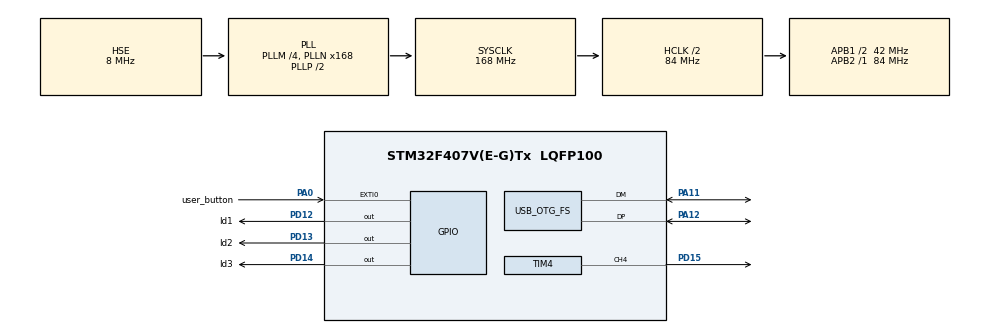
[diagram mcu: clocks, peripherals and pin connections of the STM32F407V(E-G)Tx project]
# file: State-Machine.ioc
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Mcu.Family=STM32F4
Mcu.Name=STM32F407V(E-G)Tx
Mcu.Package=LQFP100
NVIC.EXTI0_IRQn=true\:0\:0\:false\:false\:true\:true\:true\:true
NVIC.OTG_FS_IRQn=true\:0\:0\:false\:false\:true\:false\:true\:true
NVIC.PriorityGroup=NVIC_PRIORITYGROUP_0
NVIC.TIM1_UP_TIM10_IRQn=true\:0\:0\:false\:false\:true\:true\:true\:true
PA0-WKUP.GPIO_Label=user_button
PA0-WKUP.GPIO_ModeDefaultEXTI=GPIO_MODE_IT_RISING
PA0-WKUP.GPIO_PuPd=GPIO_PULLDOWN
PA0-WKUP.Signal=GPXTI0
PA11.Mode=Device_Only
PA11.Signal=USB_OTG_FS_DM
PA12.Mode=Device_Only
PA12.Signal=USB_OTG_FS_DP
PA13.Mode=Serial_Wire
PA13.Signal=SYS_JTMS-SWDIO
PA14.Mode=Serial_Wire
PA14.Signal=SYS_JTCK-SWCLK
PD12.GPIO_Label=ld1
PD12.GPIO_Speed=GPIO_SPEED_FREQ_MEDIUM
PD12.Signal=GPIO_Output
PD13.GPIO_Label=ld2
PD13.GPIO_Speed=GPIO_SPEED_FREQ_MEDIUM
PD13.Signal=GPIO_Output
PD14.GPIO_Label=ld3
PD14.GPIO_Speed=GPIO_SPEED_FREQ_MEDIUM
PD14.Signal=GPIO_Output
PD15.Signal=S_TIM4_CH4
PH0-OSC_IN.Mode=HSE-External-Oscillator
PH0-OSC_IN.Signal=RCC_OSC_IN
PH1-OSC_OUT.Mode=HSE-External-Oscillator
PH1-OSC_OUT.Signal=RCC_OSC_OUT
ProjectManager.HeapSize=0x200
ProjectManager.StackSize=0x400
ProjectManager.TargetToolchain=STM32CubeIDE
RCC.48MHZClocksFreq_Value=48000000
RCC.AHBCLKDivider=RCC_SYSCLK_DIV2
RCC.AHBFreq_Value=84000000
RCC.APB1CLKDivider=RCC_HCLK_DIV2
RCC.APB1Freq_Value=42000000
RCC.APB1TimFreq_Value=84000000
RCC.APB2Freq_Value=84000000
RCC.APB2TimFreq_Value=84000000
RCC.CortexFreq_Value=84000000
RCC.HCLKFreq_Value=84000000
RCC.HSE_VALUE=8000000
RCC.HSI_VALUE=16000000
RCC.LSE_VALUE=32768
RCC.PLLM=4
RCC.PLLN=168
RCC.PLLQ=7
RCC.SYSCLKFreq_VALUE=168000000
RCC.SYSCLKSource=RCC_SYSCLKSOURCE_PLLCLK
RCC.VCOOutputFreq_Value=336000000
SH.S_TIM4_CH4.0=TIM4_CH4,PWM Generation4 CH4
TIM1.Period=1999
TIM1.Prescaler=41999
TIM4.Channel-PWM\ Generation4\ CH4=TIM_CHANNEL_4
TIM4.Period=499
TIM4.Prescaler=167
USB_DEVICE.CLASS_NAME_FS=CDC
USB_DEVICE.VirtualMode-CDC_FS=Cdc
USB_DEVICE.VirtualModeFS=Cdc_FS
USB_OTG_FS.VirtualMode=Device_Only
VP_TIM1_VS_ClockSourceINT.Mode=Internal
VP_TIM4_VS_ClockSourceINT.Mode=Internal
VP_USB_DEVICE_VS_USB_DEVICE_CDC_FS.Mode=CDC_FS
board=STM32F407G-DISC1

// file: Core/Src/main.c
/* USER CODE BEGIN Header */
/**
  ******************************************************************************
  * @file           : main.c
  * @brief          : Main program body
  ******************************************************************************
  * @attention
  *
  * Copyright (c) 2023 STMicroelectronics.
  * All rights reserved.
  *
  * This software is licensed under terms that can be found in the LICENSE file
  * in the root directory of this software component.
  * If no LICENSE file comes with this software, it is provided AS-IS.
  *
  ******************************************************************************
  */
/* USER CODE END Header */
#include "main.h"
#include "usb_device.h"

/* USER CODE BEGIN Includes */
#include "statemachine.h"
#include "usbd_cdc_if.h"

/* USER CODE END Includes */

TIM_HandleTypeDef htim1;
TIM_HandleTypeDef htim4;

/* USER CODE BEGIN PV */

int clockCount = 0;
extern state_Type current_state;
extern void (*state_table[])(void);

uint8_t msg[] = "usb\n";
uint8_t buffer[64] = {0};

volatile uint8_t buttonCounter = 0;
volatile uint32_t lastDebounceTime = 0;
const uint32_t debounceDelay = 200;

/* USER CODE END PV */

void SystemClock_Config(void);
static void MX_GPIO_Init(void);
static void MX_TIM1_Init(void);
static void MX_TIM4_Init(void);

int main(void)
{

  /* MCU Configuration--------------------------------------------------------*/

  /* Reset of all peripherals, Initializes the Flash interface and the Systick. */
  HAL_Init();

  /* Configure the system clock */
  SystemClock_Config();

  /* Initialize all configured peripherals */
  MX_GPIO_Init();
  MX_TIM1_Init();
  MX_USB_DEVICE_Init();
  MX_TIM4_Init();
  /* USER CODE BEGIN 2 */
  HAL_TIM_Base_Start_IT(&htim1);
  HAL_TIM_PWM_Start(&htim4, TIM_CHANNEL_4);
  //__HAL_TIM_SET_COMPARE(&htim4, TIM_CHANNEL_4, 200);
  //TIM4->CCR4 = 200; //other option
  //state_machine_init();
  current_state = STATE_INIT;

  /* USER CODE END 2 */

  /* Infinite loop */
  while (1)
  {

    /* USER CODE BEGIN 3 */
	  state_table[current_state]();
	  //CDC_Transmit_FS(msg , 4);
	  //HAL_Delay(500);
  }
  /* USER CODE END 3 */
}

void SystemClock_Config(void)
{
  RCC_OscInitTypeDef RCC_OscInitStruct = {0};
  RCC_ClkInitTypeDef RCC_ClkInitStruct = {0};

  /** Configure the main internal regulator output voltage
  */
  __HAL_RCC_PWR_CLK_ENABLE();
  __HAL_PWR_VOLTAGESCALING_CONFIG(PWR_REGULATOR_VOLTAGE_SCALE1);

  /** Initializes the RCC Oscillators according to the specified parameters
  * in the RCC_OscInitTypeDef structure.
  */
  RCC_OscInitStruct.OscillatorType = RCC_OSCILLATORTYPE_HSE;
  RCC_OscInitStruct.HSEState = RCC_HSE_ON;
  RCC_OscInitStruct.PLL.PLLState = RCC_PLL_ON;
  RCC_OscInitStruct.PLL.PLLSource = RCC_PLLSOURCE_HSE;
  RCC_OscInitStruct.PLL.PLLM = 4;
  RCC_OscInitStruct.PLL.PLLN = 168;
  RCC_OscInitStruct.PLL.PLLP = RCC_PLLP_DIV2;
  RCC_OscInitStruct.PLL.PLLQ = 7;
  if (HAL_RCC_OscConfig(&RCC_OscInitStruct) != HAL_OK)
  {
    Error_Handler();
  }

  /** Initializes the CPU, AHB and APB buses clocks
  */
  RCC_ClkInitStruct.ClockType = RCC_CLOCKTYPE_HCLK|RCC_CLOCKTYPE_SYSCLK
                              |RCC_CLOCKTYPE_PCLK1|RCC_CLOCKTYPE_PCLK2;
  RCC_ClkInitStruct.SYSCLKSource = RCC_SYSCLKSOURCE_PLLCLK;
  RCC_ClkInitStruct.AHBCLKDivider = RCC_SYSCLK_DIV2;
  RCC_ClkInitStruct.APB1CLKDivider = RCC_HCLK_DIV2;
  RCC_ClkInitStruct.APB2CLKDivider = RCC_HCLK_DIV1;

  if (HAL_RCC_ClockConfig(&RCC_ClkInitStruct, FLASH_LATENCY_2) != HAL_OK)
  {
    Error_Handler();
  }
}

static void MX_TIM1_Init(void)
{

  TIM_ClockConfigTypeDef sClockSourceConfig = {0};
  TIM_MasterConfigTypeDef sMasterConfig = {0};

  htim1.Instance = TIM1;
  htim1.Init.Prescaler = 41999;
  htim1.Init.CounterMode = TIM_COUNTERMODE_UP;
  htim1.Init.Period = 1999;
  htim1.Init.ClockDivision = TIM_CLOCKDIVISION_DIV1;
  htim1.Init.RepetitionCounter = 0;
  htim1.Init.AutoReloadPreload = TIM_AUTORELOAD_PRELOAD_DISABLE;
  if (HAL_TIM_Base_Init(&htim1) != HAL_OK)
  {
    Error_Handler();
  }
  sClockSourceConfig.ClockSource = TIM_CLOCKSOURCE_INTERNAL;
  if (HAL_TIM_ConfigClockSource(&htim1, &sClockSourceConfig) != HAL_OK)
  {
    Error_Handler();
  }
  sMasterConfig.MasterOutputTrigger = TIM_TRGO_RESET;
  sMasterConfig.MasterSlaveMode = TIM_MASTERSLAVEMODE_DISABLE;
  if (HAL_TIMEx_MasterConfigSynchronization(&htim1, &sMasterConfig) != HAL_OK)
  {
    Error_Handler();
  }

}

static void MX_TIM4_Init(void)
{

  TIM_ClockConfigTypeDef sClockSourceConfig = {0};
  TIM_MasterConfigTypeDef sMasterConfig = {0};
  TIM_OC_InitTypeDef sConfigOC = {0};

  htim4.Instance = TIM4;
  htim4.Init.Prescaler = 167;
  htim4.Init.CounterMode = TIM_COUNTERMODE_UP;
  htim4.Init.Period = 499;
  htim4.Init.ClockDivision = TIM_CLOCKDIVISION_DIV1;
  htim4.Init.AutoReloadPreload = TIM_AUTORELOAD_PRELOAD_DISABLE;
  if (HAL_TIM_Base_Init(&htim4) != HAL_OK)
  {
    Error_Handler();
  }
  sClockSourceConfig.ClockSource = TIM_CLOCKSOURCE_INTERNAL;
  if (HAL_TIM_ConfigClockSource(&htim4, &sClockSourceConfig) != HAL_OK)
  {
    Error_Handler();
  }
  if (HAL_TIM_PWM_Init(&htim4) != HAL_OK)
  {
    Error_Handler();
  }
  sMasterConfig.MasterOutputTrigger = TIM_TRGO_RESET;
  sMasterConfig.MasterSlaveMode = TIM_MASTERSLAVEMODE_DISABLE;
  if (HAL_TIMEx_MasterConfigSynchronization(&htim4, &sMasterConfig) != HAL_OK)
  {
    Error_Handler();
  }
  sConfigOC.OCMode = TIM_OCMODE_PWM1;
  sConfigOC.Pulse = 0;
  sConfigOC.OCPolarity = TIM_OCPOLARITY_HIGH;
  sConfigOC.OCFastMode = TIM_OCFAST_DISABLE;
  if (HAL_TIM_PWM_ConfigChannel(&htim4, &sConfigOC, TIM_CHANNEL_4) != HAL_OK)
  {
    Error_Handler();
  }
  HAL_TIM_MspPostInit(&htim4);

}

static void MX_GPIO_Init(void)
{
  GPIO_InitTypeDef GPIO_InitStruct = {0};

  /* GPIO Ports Clock Enable */
  __HAL_RCC_GPIOH_CLK_ENABLE();
  __HAL_RCC_GPIOA_CLK_ENABLE();
  __HAL_RCC_GPIOD_CLK_ENABLE();

  /*Configure GPIO pin Output Level */
  HAL_GPIO_WritePin(GPIOD, ld1_Pin|ld2_Pin|ld3_Pin, GPIO_PIN_RESET);

  /*Configure GPIO pin : user_button_Pin */
  GPIO_InitStruct.Pin = user_button_Pin;
  GPIO_InitStruct.Mode = GPIO_MODE_IT_RISING;
  GPIO_InitStruct.Pull = GPIO_PULLDOWN;
  HAL_GPIO_Init(user_button_GPIO_Port, &GPIO_InitStruct);

  /*Configure GPIO pins : ld1_Pin ld2_Pin ld3_Pin */
  GPIO_InitStruct.Pin = ld1_Pin|ld2_Pin|ld3_Pin;
  GPIO_InitStruct.Mode = GPIO_MODE_OUTPUT_PP;
  GPIO_InitStruct.Pull = GPIO_NOPULL;
  GPIO_InitStruct.Speed = GPIO_SPEED_FREQ_MEDIUM;
  HAL_GPIO_Init(GPIOD, &GPIO_InitStruct);

  /* EXTI interrupt init*/
  HAL_NVIC_SetPriority(EXTI0_IRQn, 0, 0);
  HAL_NVIC_EnableIRQ(EXTI0_IRQn);

}

/* USER CODE BEGIN 4 */

void HAL_TIM_PeriodElapsedCallback(TIM_HandleTypeDef *htim)
{
	clockCount++;
}

void HAL_GPIO_EXTI_Callback(uint16_t GPIO_Pin)
{
	uint32_t currentMillis = HAL_GetTick();

	if((currentMillis - lastDebounceTime) >= debounceDelay){
		buttonCounter++;
		lastDebounceTime = currentMillis;
	}

}

/* USER CODE END 4 */

void Error_Handler(void)
{
  __disable_irq();
  while (1)
  {
  }
}
